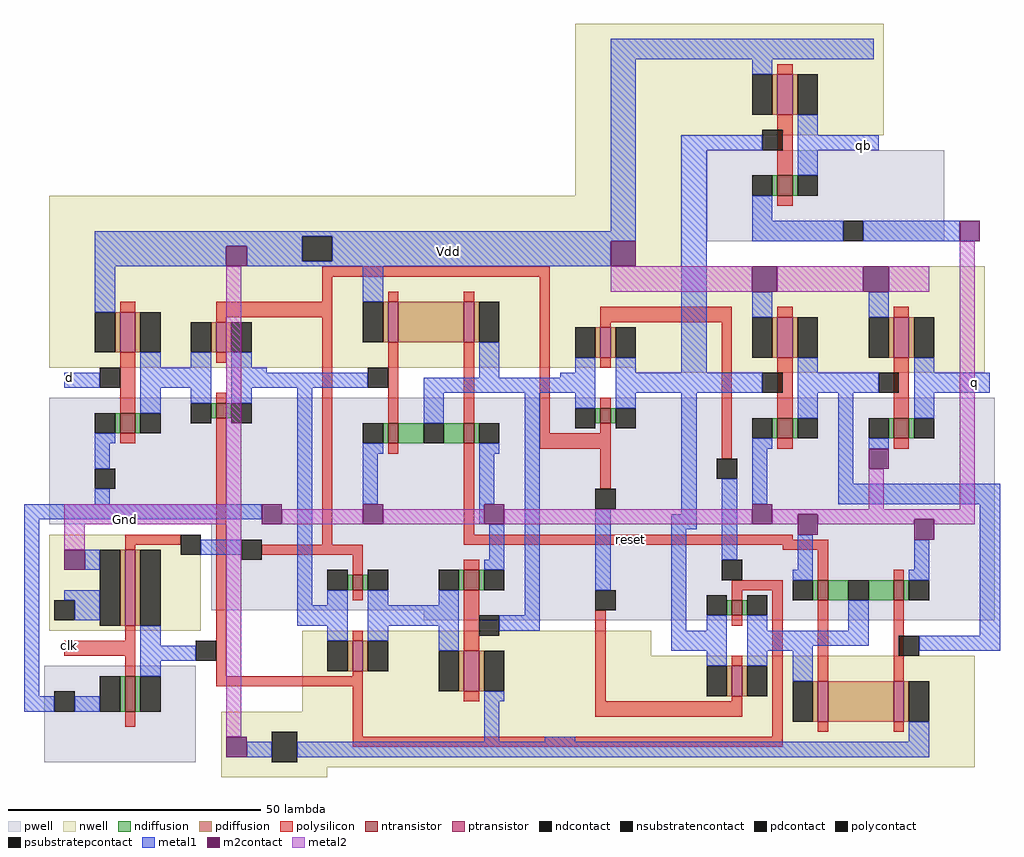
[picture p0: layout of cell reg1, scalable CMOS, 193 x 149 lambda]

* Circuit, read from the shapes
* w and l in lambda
.subckt reg1 Gnd Vdd clk d q qb reset
M1 n1 d Gnd Gnd nfet w=4 l=3
M2 n2 clk Gnd Gnd nfet w=7 l=2
M3 n3 n2 n1 Gnd nfet w=3 l=2
M4 n4 clk n3 Gnd nfet w=3 l=2
M5 n5 n3 Gnd Gnd nfet w=4 l=2
M6 Gnd n5 n4 Gnd nfet w=4 l=3
M7 Gnd reset n5 Gnd nfet w=4 l=2
M8 n6 clk n5 Gnd nfet w=3 l=2
M9 n7 n2 n6 Gnd nfet w=3 l=2
M10 n8 n6 Gnd Gnd nfet w=4 l=3
M11 qb n6 Gnd Gnd nfet w=4 l=3
M12 n7 reset Gnd Gnd nfet w=4 l=2
M13 Gnd n8 n7 Gnd nfet w=4 l=2
M14 q n8 Gnd Gnd nfet w=4 l=3
M15 n1 d Vdd Vdd pfet w=8 l=3
M16 n2 clk Vdd Vdd pfet w=15 l=2
M17 n3 clk n1 Vdd pfet w=6 l=2
M18 n4 n2 n3 Vdd pfet w=6 l=2
M19 n9 n3 Vdd Vdd pfet w=8 l=2
M20 Vdd n5 n4 Vdd pfet w=8 l=3
M21 n5 reset n9 Vdd pfet w=8 l=2
M22 n6 n2 n5 Vdd pfet w=6 l=2
M23 n7 clk n6 Vdd pfet w=6 l=2
M24 n8 n6 Vdd Vdd pfet w=8 l=3
M25 qb n6 Vdd Vdd pfet w=8 l=3
M26 n10 reset n7 Vdd pfet w=8 l=2
M27 Vdd n8 n10 Vdd pfet w=8 l=2
M28 q n8 Vdd Vdd pfet w=8 l=3
.ends

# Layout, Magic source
magic
tech scmos
<< pwell >>
rect 83 58 130 76
rect -47 2 140 27
rect -15 -15 140 2
rect 27 -17 140 -15
rect -48 -45 -18 -26
<< nwell >>
rect 57 79 118 101
rect 57 67 78 79
rect -47 53 78 67
rect -47 33 138 53
rect 69 32 138 33
rect -47 -19 -17 0
rect 3 -24 72 -19
rect 3 -35 136 -24
rect -13 -46 136 -35
rect -13 -48 8 -46
<< polysilicon >>
rect 7 51 52 53
rect 7 46 9 51
rect -14 43 9 46
rect -32 -2 -21 0
rect -32 -3 -30 -2
rect -32 -21 -30 -18
rect -44 -24 -30 -21
rect -32 -28 -30 -24
rect -14 -28 -12 21
rect 7 -2 9 43
rect 50 20 52 51
rect 62 42 88 45
rect 50 17 64 20
rect 35 0 37 16
rect 62 9 64 17
rect 86 15 88 42
rect 35 -1 100 0
rect 35 -2 107 -1
rect -5 -4 15 -2
rect 98 -3 107 -2
rect 13 -6 15 -4
rect 105 -7 107 -3
rect 88 -11 98 -9
rect -14 -30 15 -28
rect -32 -38 -30 -35
rect 13 -40 15 -30
rect 61 -33 63 -15
rect 61 -36 90 -33
rect 96 -40 98 -11
rect 13 -42 98 -40
<< ndiffusion >>
rect -33 -35 -32 -28
rect -30 -35 -29 -28
<< pdiffusion >>
rect -33 -18 -32 -3
rect -30 -18 -29 -3
<< metal1 >>
rect 64 94 116 98
rect 64 60 69 94
rect 92 91 96 94
rect -38 59 69 60
rect -38 57 3 59
rect -38 53 -12 57
rect -8 54 3 57
rect 9 58 69 59
rect 9 54 64 58
rect -8 53 64 54
rect 78 76 94 79
rect 101 76 117 79
rect -38 45 -34 53
rect 15 47 19 53
rect -44 29 -37 32
rect -25 29 -22 33
rect -4 29 16 32
rect 78 32 83 76
rect 92 62 96 65
rect 92 58 110 62
rect 114 58 133 62
rect 92 45 96 48
rect 115 45 119 48
rect -38 13 -35 18
rect -38 6 -35 9
rect -52 3 -5 6
rect -52 -32 -49 3
rect -40 -7 -37 -3
rect -44 -13 -37 -11
rect -42 -17 -37 -13
rect -17 -4 -9 -1
rect 2 -18 5 29
rect 43 28 54 31
rect 72 28 94 32
rect 105 28 117 32
rect 127 28 139 32
rect 15 6 18 16
rect 38 6 41 16
rect 38 2 39 6
rect 40 -6 43 2
rect 23 -18 31 -14
rect 47 -16 50 28
rect 61 -11 64 5
rect 78 4 81 28
rect 76 1 81 4
rect -29 -22 -25 -18
rect 42 -19 50 -16
rect 76 -19 79 1
rect 86 -5 89 11
rect 92 6 95 17
rect 109 10 112 28
rect 109 6 141 10
rect 101 -9 104 0
rect 124 -9 127 -1
rect -29 -25 -18 -22
rect 76 -23 80 -19
rect 98 -23 101 -19
rect 137 -20 141 6
rect 125 -23 141 -20
rect -29 -28 -25 -25
rect -52 -35 -46 -32
rect -42 -35 -37 -32
rect -8 -44 -3 -41
rect 39 -41 42 -33
rect 51 -41 57 -40
rect 123 -41 127 -39
rect 2 -44 127 -41
<< metal2 >>
rect -12 6 -9 53
rect 64 48 92 53
rect 97 48 114 53
rect 119 48 127 53
rect -44 2 -9 6
rect -1 2 15 5
rect 19 2 39 5
rect 43 2 92 5
rect 115 5 118 13
rect 133 5 136 58
rect 96 4 136 5
rect 96 2 101 4
rect -44 -3 -40 2
rect -12 -40 -9 2
rect 105 3 136 4
rect 105 2 124 3
rect 128 2 136 3
<< ntransistor >>
rect -32 -35 -30 -28
<< ptransistor >>
rect -32 -18 -30 -3
<< polycontact >>
rect 94 76 98 80
rect -37 29 -33 33
rect -21 -4 -17 0
rect -18 -25 -14 -21
rect -9 -5 -5 -1
rect 16 29 20 33
rect 94 28 98 32
rect 117 28 121 32
rect 85 11 89 15
rect 61 5 65 9
rect 86 -9 90 -5
rect 61 -15 65 -11
rect 38 -20 42 -16
rect 121 -24 125 -20
<< ndcontact >>
rect -37 -35 -33 -28
rect -29 -35 -25 -28
<< pdcontact >>
rect -37 -18 -33 -3
rect -29 -18 -25 -3
<< m2contact >>
rect -12 53 -8 57
rect 64 53 69 58
rect 133 58 137 62
rect 92 48 97 53
rect 114 48 119 53
rect -5 2 -1 6
rect -44 -7 -40 -3
rect 15 2 19 6
rect 39 2 43 6
rect 115 13 119 17
rect 92 2 96 6
rect 101 0 105 4
rect 124 -1 128 3
rect -12 -44 -8 -40
<< psubstratepcontact >>
rect 110 58 114 62
rect -38 9 -34 13
rect -46 -35 -42 -31
<< nsubstratencontact >>
rect 3 54 9 59
rect -46 -17 -42 -13
rect -3 -45 2 -39
use not  not_3
transform 1 0 92 0 1 67
box 0 -2 13 26
use not  not_0
transform 1 0 -38 0 1 20
box 0 -2 13 26
use trans  trans_0
transform 1 0 -15 0 1 35
box -7 -14 11 9
use nor  nor_0
transform 1 0 28 0 1 23
box -13 -7 15 25
use trans  trans_1
transform 1 0 61 0 1 34
box -7 -14 11 9
use not  not_1
transform 1 0 92 0 1 19
box 0 -2 13 26
use not  not_2
transform 1 0 115 0 1 19
box 0 -2 13 26
use trans  trans_3
transform -1 0 16 0 -1 -20
box -7 -14 11 9
use not  not_4
transform -1 0 43 0 -1 -7
box 0 -2 13 26
use trans  trans_2
transform -1 0 91 0 -1 -25
box -7 -14 11 9
use nor  nor_1
transform -1 0 114 0 -1 -14
box -13 -7 15 25
<< labels >>
rlabel metal1 136 30 136 30 7 q
rlabel metal1 114 77 114 77 1 qb
rlabel metal1 -43 31 -43 31 3 d
rlabel metal1 32 56 32 56 1 Vdd
rlabel metal1 -32 3 -32 3 1 Gnd
rlabel polysilicon 68 -1 68 -1 1 reset
rlabel polysilicon -43 -22 -43 -22 3 clk
<< end >>

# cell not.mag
magic
tech scmos
<< polysilicon >>
rect 5 24 8 26
rect 5 4 8 16
rect 5 -2 8 0
<< ndiffusion >>
rect 4 0 5 4
rect 8 0 9 4
<< pdiffusion >>
rect 4 16 5 24
rect 8 16 9 24
<< metal1 >>
rect 0 24 4 26
rect 9 4 13 16
rect 0 -2 4 0
<< ntransistor >>
rect 5 0 8 4
<< ptransistor >>
rect 5 16 8 24
<< ndcontact >>
rect 0 0 4 4
rect 9 0 13 4
<< pdcontact >>
rect 0 16 4 24
rect 9 16 13 24
<< end >>

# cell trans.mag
magic
tech scmos
<< polysilicon >>
rect 1 7 3 9
rect 1 -1 3 1
rect 1 -9 3 -7
rect 1 -14 3 -12
<< ndiffusion >>
rect 0 -12 1 -9
rect 3 -12 4 -9
<< pdiffusion >>
rect 0 1 1 7
rect 3 1 4 7
<< metal1 >>
rect -4 -2 0 1
rect -7 -6 0 -2
rect -4 -9 0 -6
rect 4 -2 8 1
rect 4 -6 11 -2
rect 4 -9 8 -6
<< ntransistor >>
rect 1 -12 3 -9
<< ptransistor >>
rect 1 1 3 7
<< ndcontact >>
rect -4 -13 0 -9
rect 4 -13 8 -9
<< pdcontact >>
rect -4 1 0 7
rect 4 1 8 7
<< end >>

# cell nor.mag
magic
tech scmos
<< polysilicon >>
rect -8 23 -6 25
rect 7 23 9 25
rect -8 -1 -6 15
rect 7 -1 9 15
rect -8 -7 -6 -5
rect 7 -7 9 -5
<< ndiffusion >>
rect -9 -5 -8 -1
rect -6 -5 -1 -1
rect 3 -5 7 -1
rect 9 -5 10 -1
<< pdiffusion >>
rect -9 15 -8 23
rect -6 15 7 23
rect 9 15 10 23
<< metal1 >>
rect -13 23 -9 25
rect 10 8 14 15
rect -1 5 15 8
rect -1 -1 3 5
rect -13 -7 -9 -5
rect 10 -7 14 -5
<< ntransistor >>
rect -8 -5 -6 -1
rect 7 -5 9 -1
<< ptransistor >>
rect -8 15 -6 23
rect 7 15 9 23
<< ndcontact >>
rect -13 -5 -9 -1
rect -1 -5 3 -1
rect 10 -5 14 -1
<< pdcontact >>
rect -13 15 -9 23
rect 10 15 14 23
<< end >>
